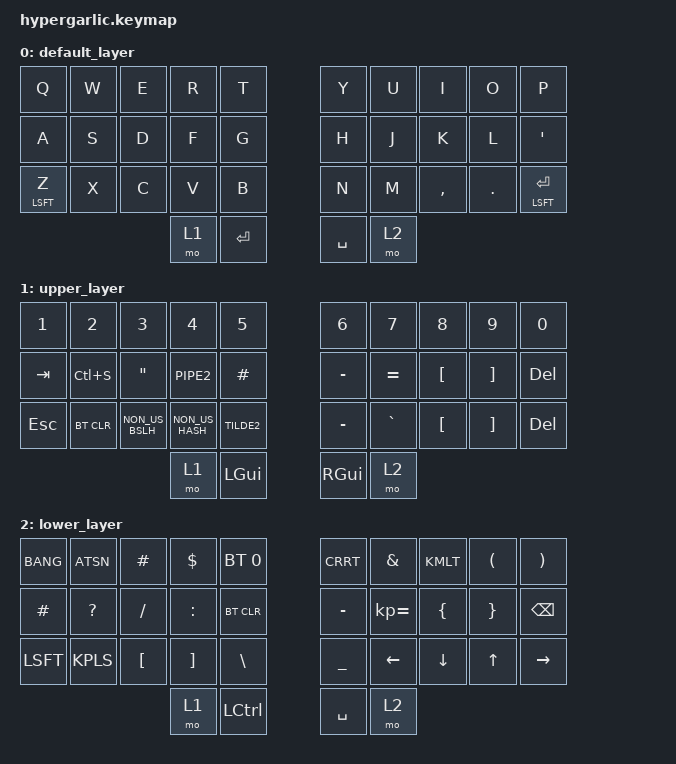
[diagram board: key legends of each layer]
#include <behaviors.dtsi>
#include <dt-bindings/zmk/bt.h>
#include <dt-bindings/zmk/keys.h>

/ {
    keymap {
        compatible = "zmk,keymap";

        default_layer {
            bindings = <
&kp Q       &kp W  &kp E  &kp R  &kp T      &kp Y      &kp U  &kp I     &kp O    &kp P
&kp A       &kp S  &kp D  &kp F  &kp G      &kp H      &kp J  &kp K     &kp L    &kp QUOT
&mt LSFT Z  &kp X  &kp C  &kp V  &kp B      &kp N      &kp M  &kp CMMA  &kp DOT  &mt LSFT RET
                          &mo 1  &kp RET    &kp SPACE  &mo 2
            >;
        };

        upper_layer {
            bindings = <
&kp NUM_1  &kp NUM_2   &kp NUM_3        &kp NUM_4        &kp NUM_5     &kp NUM_6  &kp NUM_7  &kp NUM_8  &kp NUM_9  &kp NUM_0
&kp TAB    &kp LC(S)   &kp DQT          &kp PIPE2        &kp HASH      &kp MINUS  &kp EQL    &kp LBKT   &kp RBKT   &kp DEL
&kp ESC    &bt BT_CLR  &kp NON_US_BSLH  &kp NON_US_HASH  &kp TILDE2    &kp MINUS  &kp GRAVE  &kp LBKT   &kp RBKT   &kp DEL
                                        &mo 1            &kp LGUI      &kp RGUI   &mo 2
            >;
        };

        lower_layer {
            bindings = <
&kp BANG  &kp ATSN   &kp HASH  &kp DLLR  &bt BT_SEL 0    &kp CRRT   &kp AMPS      &kp KMLT  &kp LPRN  &kp RPRN
&kp HASH  &kp QMARK  &kp FSLH  &kp COLN  &bt BT_CLR      &kp MINUS  &kp KP_EQUAL  &kp LBRC  &kp RBRC  &kp BKSP
&kp LSFT  &kp KPLS   &kp LBKT  &kp RBKT  &kp BSLH        &kp UNDER  &kp LEFT      &kp DOWN  &kp UP    &kp RIGHT
                               &mo 1     &kp LCTL        &kp SPC    &mo 2
            >;
        };
    };
};
